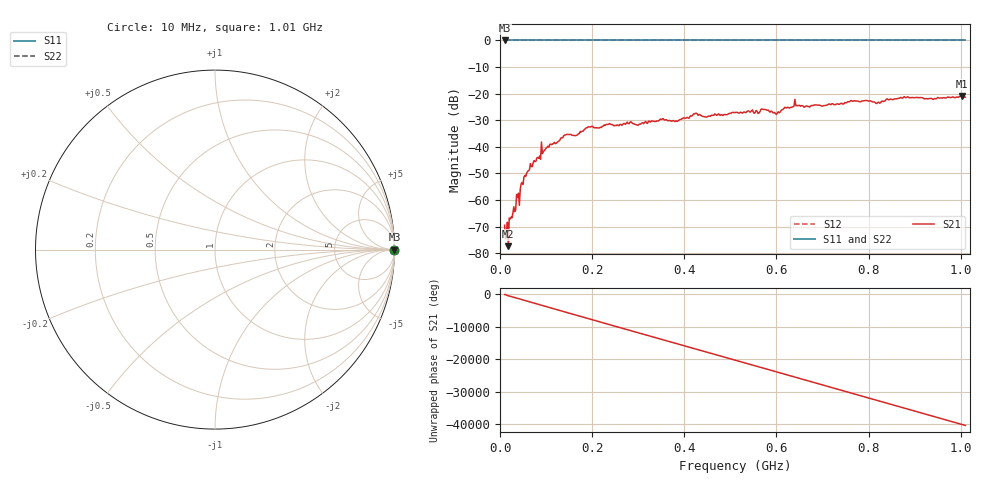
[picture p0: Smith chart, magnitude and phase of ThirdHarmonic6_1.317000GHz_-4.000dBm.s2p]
! 8/16/2025 2:36:35 PM
! C:\ANRITSUVNA\TEMP\TEMP.S2P
! CHANNEL.1
! TR.MEASUREMENT
! RAW.DATA
! RF.CORRECTION.OFF
! AVERAGING.OFF
! IF.BANDWIDTH: 5KHZ
! SWEEPTYPE:  FREQ.SWEEP(Linear)
! Reference Plane Port Info
! PORT:  PORT1  PORT2
! DISTANCE:  0  m  0  m
! TIME:  0  s  0  s
! PHASE.OFFSET:  0  deg.  0  deg.
! LOSS:  0  dB  0  dB
! REF.LOSS:  0  dB  0  dB
! REF.FREQ:  0  Hz  0  Hz
! Power Info
! POWER:  -20  dBm  -20  dBm
! EFF.POWER:  -20  dBm  -20  dBm
! SOURCE.ATTEN:  0  dB  0  dB
! TEST.ATTEN:  0  dB  0  dB
# GHZ S RI R 50.0
! FREQ.GHZ  S11RE  S11IM  S21RE  S21IM  S12RE  S12IM  S22RE  S22IM
!; PortSelection: Port_12
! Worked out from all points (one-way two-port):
!   501 points, 10 MHz to 1.01 GHz, reference 50 ohm
!   highest |S21| = -20.87 dB at 1.002 GHz (marker M1); lowest = -77.4 dB at 18 MHz (marker M2)
!   lowest |S11| = 0.0 dB at 10 MHz (marker M3)
!   |S11| at or under -10 dB: nowhere
!   |S22| runs from 0.0 to 0.0 dB; largest |S21 - S12| = 1.1
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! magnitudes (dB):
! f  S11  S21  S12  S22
! 10 MHz  0.0  -69.5  0.0  0.0
! 14 MHz  0.0  -73.7  0.0  0.0
! 18 MHz  0.0  -77.4  0.0  0.0
! 50 MHz  0.0  -54.1  0.0  0.0
! 70 MHz  0.0  -47.5  0.0  0.0
! 106 MHz  0.0  -40.1  0.0  0.0
! 142 MHz  0.0  -35.6  0.0  0.0
! 164 MHz  0.0  -35.8  0.0  0.0
! 178 MHz  0.0  -34.1  0.0  0.0
! 196 MHz  0.0  -32.5  0.0  0.0
! 344 MHz  0.0  -30.2  0.0  0.0
! 384 MHz  0.0  -30.4  0.0  0.0
! 424 MHz  0.0  -27.4  0.0  0.0
! 446 MHz  0.0  -28.7  0.0  0.0
! 510 MHz  0.0  -27.1  0.0  0.0
! 572 MHz  0.0  -26.0  0.0  0.0
! 602 MHz  0.0  -27.3  0.0  0.0
! 640 MHz  0.0  -22.2  0.0  0.0
! 678 MHz  0.0  -24.5  0.0  0.0
! 844 MHz  0.0  -22.4  0.0  0.0
! 1.002 GHz  0.0  -20.9  0.0  0.0
! 1.01 GHz  0.0  -21.3  0.0  0.0
